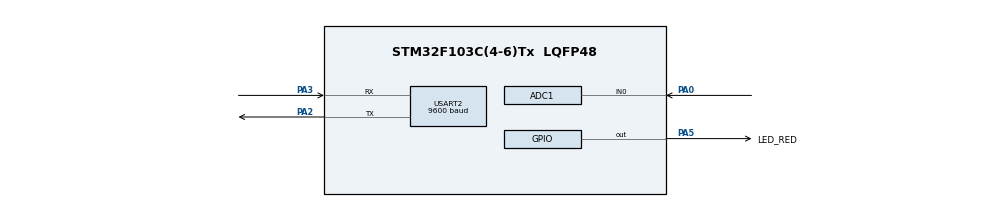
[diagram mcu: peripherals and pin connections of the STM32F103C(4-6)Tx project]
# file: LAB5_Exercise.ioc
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ADC1.Channel-2\#ChannelRegularConversion=ADC_CHANNEL_0
ADC1.NbrOfConversionFlag=1
ADC1.Rank-2\#ChannelRegularConversion=1
ADC1.SamplingTime-2\#ChannelRegularConversion=ADC_SAMPLETIME_1CYCLE_5
ADC1.master=1
Mcu.Family=STM32F1
Mcu.Name=STM32F103C(4-6)Tx
Mcu.Package=LQFP48
NVIC.ADC1_2_IRQn=true\:0\:0\:false\:false\:true\:true\:true
NVIC.PriorityGroup=NVIC_PRIORITYGROUP_4
NVIC.TIM2_IRQn=true\:0\:0\:false\:false\:true\:true\:true
NVIC.USART2_IRQn=true\:0\:0\:false\:false\:true\:true\:true
PA0-WKUP.Signal=ADCx_IN0
PA2.Mode=Asynchronous
PA2.Signal=USART2_TX
PA3.Mode=Asynchronous
PA3.Signal=USART2_RX
PA5.GPIO_Label=LED_RED
PA5.Signal=GPIO_Output
ProjectManager.HeapSize=0x200
ProjectManager.StackSize=0x400
ProjectManager.TargetToolchain=STM32CubeIDE
RCC.APB1Freq_Value=8000000
RCC.APB2Freq_Value=8000000
SH.ADCx_IN0.0=ADC1_IN0,IN0
USART2.BaudRate=9600
USART2.VirtualMode=VM_ASYNC
VP_SYS_VS_ND.Mode=No_Debug
VP_TIM2_VS_ClockSourceINT.Mode=Internal
board=custom

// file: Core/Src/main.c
/* USER CODE BEGIN Header */
/**
  ******************************************************************************
  * @file           : main.c
  * @brief          : Main program body
  ******************************************************************************
  * @attention
  *
  * <h2><center>&copy; Copyright (c) 2024 STMicroelectronics.
  * All rights reserved.</center></h2>
  *
  * This software component is licensed by ST under BSD 3-Clause license,
  * the "License"; You may not use this file except in compliance with the
  * License. You may obtain a copy of the License at:
  *                        opensource.org/licenses/BSD-3-Clause
  *
  ******************************************************************************
  */
/* USER CODE END Header */
#include "main.h"

/* USER CODE BEGIN Includes */
#include "global.h"
#include "command_parser_fsm.h"
#include "uart_communication_fsm.h"
/* USER CODE END Includes */

ADC_HandleTypeDef hadc1;

TIM_HandleTypeDef htim2;

UART_HandleTypeDef huart2;

void SystemClock_Config(void);
static void MX_GPIO_Init(void);
static void MX_ADC1_Init(void);
static void MX_USART2_UART_Init(void);
static void MX_TIM2_Init(void);

/* USER CODE BEGIN 0 */

void HAL_UART_RxCpltCallback(UART_HandleTypeDef *huart){
	if(huart->Instance == USART2){
		buffer[index_buffer++] = temp;

		if(index_buffer == MAX_BUFFER_SIZE)
			index_buffer = 0;
		buffer_flag = 1;
		//HAL_UART_Transmit(&huart2, &temp, 1, 50);
		HAL_UART_Receive_IT(&huart2, &temp, 1);
	}
}
/* USER CODE END 0 */

int main(void)
{

  /* MCU Configuration--------------------------------------------------------*/

  /* Reset of all peripherals, Initializes the Flash interface and the Systick. */
  HAL_Init();

  /* Configure the system clock */
  SystemClock_Config();

  /* Initialize all configured peripherals */
  MX_GPIO_Init();
  MX_ADC1_Init();
  MX_USART2_UART_Init();
  MX_TIM2_Init();
  /* USER CODE BEGIN 2 */
  HAL_TIM_Base_Start_IT(&htim2);
  HAL_UART_Receive_IT(&huart2, &temp, 1);
  /* USER CODE END 2 */

  /* Infinite loop */
  while (1)
  {

    /* USER CODE BEGIN 3 */
//	  ADC_value = HAL_ADC_GetValue(&hadc1);
//	  HAL_UART_Transmit(&huart2, (void *)str, sprintf(str, "!ADC=%u#\n", ADC_value), 1000);
//	  HAL_Delay(500);
	  if(buffer_flag == 1){
		  command_parser_fsm();
		  buffer_flag = 0;
		  HAL_GPIO_TogglePin(LED_RED_GPIO_Port, LED_RED_Pin);
	  }
	  uart_communiation_fsm();
  }
  /* USER CODE END 3 */
}

void SystemClock_Config(void)
{
  RCC_OscInitTypeDef RCC_OscInitStruct = {0};
  RCC_ClkInitTypeDef RCC_ClkInitStruct = {0};
  RCC_PeriphCLKInitTypeDef PeriphClkInit = {0};

  /** Initializes the RCC Oscillators according to the specified parameters
  * in the RCC_OscInitTypeDef structure.
  */
  RCC_OscInitStruct.OscillatorType = RCC_OSCILLATORTYPE_HSI;
  RCC_OscInitStruct.HSIState = RCC_HSI_ON;
  RCC_OscInitStruct.HSICalibrationValue = RCC_HSICALIBRATION_DEFAULT;
  RCC_OscInitStruct.PLL.PLLState = RCC_PLL_NONE;
  if (HAL_RCC_OscConfig(&RCC_OscInitStruct) != HAL_OK)
  {
    Error_Handler();
  }
  /** Initializes the CPU, AHB and APB buses clocks
  */
  RCC_ClkInitStruct.ClockType = RCC_CLOCKTYPE_HCLK|RCC_CLOCKTYPE_SYSCLK
                              |RCC_CLOCKTYPE_PCLK1|RCC_CLOCKTYPE_PCLK2;
  RCC_ClkInitStruct.SYSCLKSource = RCC_SYSCLKSOURCE_HSI;
  RCC_ClkInitStruct.AHBCLKDivider = RCC_SYSCLK_DIV1;
  RCC_ClkInitStruct.APB1CLKDivider = RCC_HCLK_DIV1;
  RCC_ClkInitStruct.APB2CLKDivider = RCC_HCLK_DIV1;

  if (HAL_RCC_ClockConfig(&RCC_ClkInitStruct, FLASH_LATENCY_0) != HAL_OK)
  {
    Error_Handler();
  }
  PeriphClkInit.PeriphClockSelection = RCC_PERIPHCLK_ADC;
  PeriphClkInit.AdcClockSelection = RCC_ADCPCLK2_DIV2;
  if (HAL_RCCEx_PeriphCLKConfig(&PeriphClkInit) != HAL_OK)
  {
    Error_Handler();
  }
}

static void MX_ADC1_Init(void)
{

  ADC_ChannelConfTypeDef sConfig = {0};

  /** Common config
  */
  hadc1.Instance = ADC1;
  hadc1.Init.ScanConvMode = ADC_SCAN_DISABLE;
  hadc1.Init.ContinuousConvMode = DISABLE;
  hadc1.Init.DiscontinuousConvMode = DISABLE;
  hadc1.Init.ExternalTrigConv = ADC_SOFTWARE_START;
  hadc1.Init.DataAlign = ADC_DATAALIGN_RIGHT;
  hadc1.Init.NbrOfConversion = 1;
  if (HAL_ADC_Init(&hadc1) != HAL_OK)
  {
    Error_Handler();
  }
  /** Configure Regular Channel
  */
  sConfig.Channel = ADC_CHANNEL_0;
  sConfig.Rank = ADC_REGULAR_RANK_1;
  sConfig.SamplingTime = ADC_SAMPLETIME_1CYCLE_5;
  if (HAL_ADC_ConfigChannel(&hadc1, &sConfig) != HAL_OK)
  {
    Error_Handler();
  }

}

static void MX_TIM2_Init(void)
{

  TIM_ClockConfigTypeDef sClockSourceConfig = {0};
  TIM_MasterConfigTypeDef sMasterConfig = {0};

  htim2.Instance = TIM2;
  htim2.Init.Prescaler = 0;
  htim2.Init.CounterMode = TIM_COUNTERMODE_UP;
  htim2.Init.Period = 65535;
  htim2.Init.ClockDivision = TIM_CLOCKDIVISION_DIV1;
  htim2.Init.AutoReloadPreload = TIM_AUTORELOAD_PRELOAD_DISABLE;
  if (HAL_TIM_Base_Init(&htim2) != HAL_OK)
  {
    Error_Handler();
  }
  sClockSourceConfig.ClockSource = TIM_CLOCKSOURCE_INTERNAL;
  if (HAL_TIM_ConfigClockSource(&htim2, &sClockSourceConfig) != HAL_OK)
  {
    Error_Handler();
  }
  sMasterConfig.MasterOutputTrigger = TIM_TRGO_RESET;
  sMasterConfig.MasterSlaveMode = TIM_MASTERSLAVEMODE_DISABLE;
  if (HAL_TIMEx_MasterConfigSynchronization(&htim2, &sMasterConfig) != HAL_OK)
  {
    Error_Handler();
  }

}

static void MX_USART2_UART_Init(void)
{

  huart2.Instance = USART2;
  huart2.Init.BaudRate = 9600;
  huart2.Init.WordLength = UART_WORDLENGTH_8B;
  huart2.Init.StopBits = UART_STOPBITS_1;
  huart2.Init.Parity = UART_PARITY_NONE;
  huart2.Init.Mode = UART_MODE_TX_RX;
  huart2.Init.HwFlowCtl = UART_HWCONTROL_NONE;
  huart2.Init.OverSampling = UART_OVERSAMPLING_16;
  if (HAL_UART_Init(&huart2) != HAL_OK)
  {
    Error_Handler();
  }

}

static void MX_GPIO_Init(void)
{
  GPIO_InitTypeDef GPIO_InitStruct = {0};

  /* GPIO Ports Clock Enable */
  __HAL_RCC_GPIOA_CLK_ENABLE();

  /*Configure GPIO pin Output Level */
  HAL_GPIO_WritePin(LED_RED_GPIO_Port, LED_RED_Pin, GPIO_PIN_RESET);

  /*Configure GPIO pin : LED_RED_Pin */
  GPIO_InitStruct.Pin = LED_RED_Pin;
  GPIO_InitStruct.Mode = GPIO_MODE_OUTPUT_PP;
  GPIO_InitStruct.Pull = GPIO_NOPULL;
  GPIO_InitStruct.Speed = GPIO_SPEED_FREQ_LOW;
  HAL_GPIO_Init(LED_RED_GPIO_Port, &GPIO_InitStruct);

}

/* USER CODE BEGIN 4 */
void HAL_TIM_PeriodElapsedCallback(TIM_HandleTypeDef *htim){
	timerRun();
}
/* USER CODE END 4 */

void Error_Handler(void)
{
  __disable_irq();
  while (1)
  {
  }
}

/************************ (C) COPYRIGHT STMicroelectronics *****END OF FILE****/
